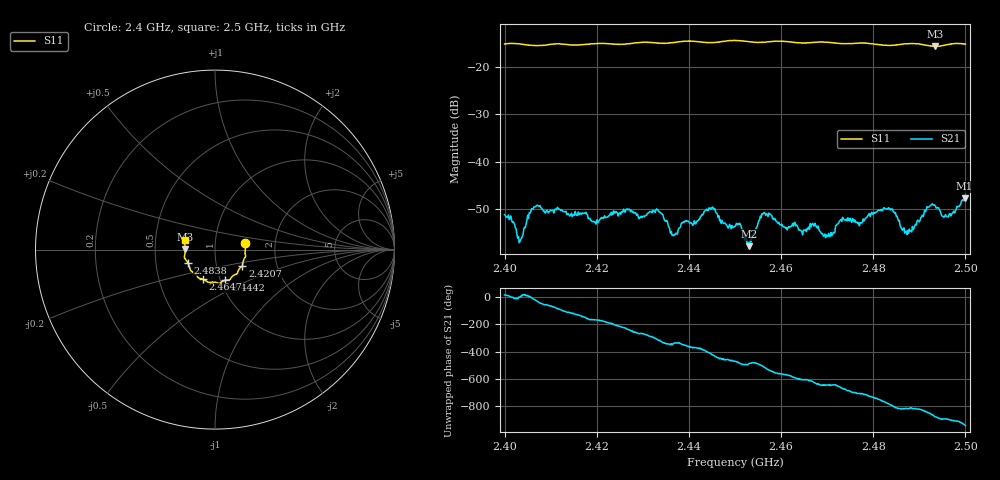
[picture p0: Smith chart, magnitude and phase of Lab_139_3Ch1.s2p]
# Hz S RI R
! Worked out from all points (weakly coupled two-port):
!   601 points, 2.4 GHz to 2.5 GHz, reference 50 ohm
!   highest |S21| = -47.66 dB at 2.4998 GHz (marker M1); lowest = -57.7 dB at 2.453 GHz (marker M2)
!   lowest |S11| = -15.7 dB at 2.4935 GHz (marker M3), VSWR 1.39, Z = 35.9 + j0.129 ohm
!   |S11| at or under -10 dB: start of sweep to end of sweep
!   S12 and S22 are empty: the file has one direction only
!   S11 on the Smith chart (normalised r, x): 2.4 GHz: 1.40, +0.11; 2.4207 GHz: 1.33, -0.24; 2.4442 GHz: 1.06, -0.37; 2.4647 GHz: 0.83, -0.28; 2.4838 GHz: 0.73, -0.11; 2.5 GHz: 0.71, +0.08
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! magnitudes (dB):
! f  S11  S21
! 2.4 GHz  -15.2  -51.1
! 2.4033 GHz  -15.2  -56.8
! 2.4068 GHz  -15.5  -49.3
! 2.4167 GHz  -15.3  -51.1
! 2.4207 GHz  -15.1  -52.1
! 2.4333 GHz  -15.0  -50.2
! 2.4368 GHz  -14.9  -55.3
! 2.4442 GHz  -14.9  -50.3
! 2.45 GHz  -14.4  -53.6
! 2.453 GHz  -14.7  -57.7
! 2.4563 GHz  -14.8  -50.6
! 2.4647 GHz  -15.0  -55.3
! 2.4667 GHz  -14.9  -53.1
! 2.4702 GHz  -14.8  -55.6
! 2.4732 GHz  -15.1  -52.5
! 2.4833 GHz  -15.5  -49.6
! 2.4838 GHz  -15.5  -49.9
! 2.4873 GHz  -15.1  -55.3
! 2.4935 GHz  -15.7  -49.3
! 2.4958 GHz  -15.4  -51.4
! 2.4998 GHz  -15.2  -47.7
! 2.5 GHz  -15.2  -47.7
